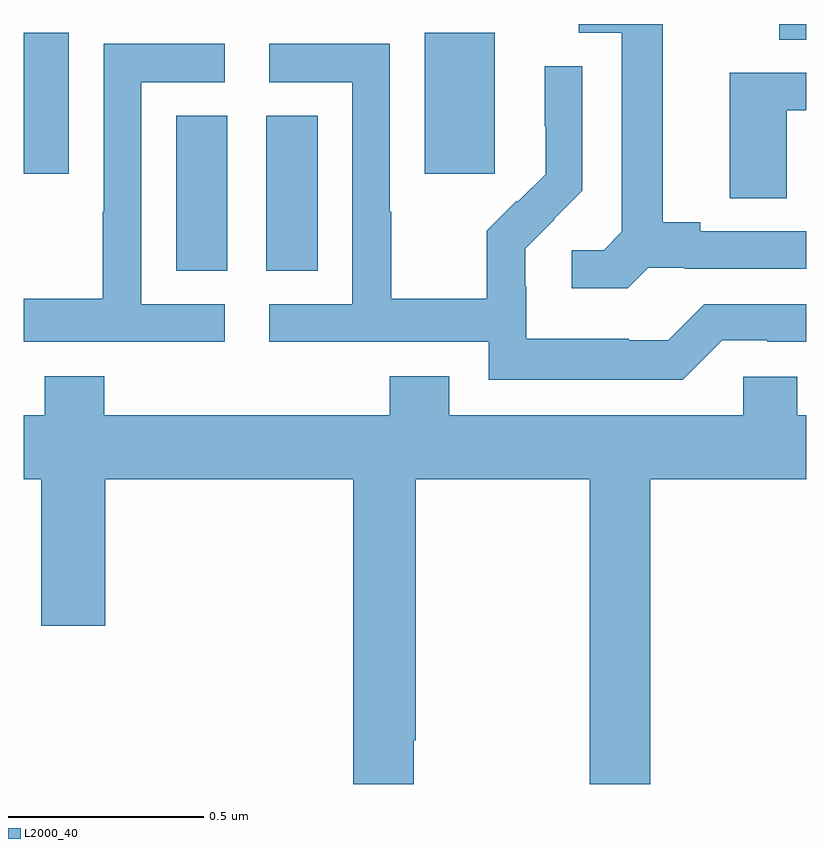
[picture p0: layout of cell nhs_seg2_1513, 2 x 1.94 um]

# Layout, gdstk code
import gdstk
lib = gdstk.Library(unit=1e-6, precision=1e-09)
def R(c, l, rs):  # rectangles x0, y0, x1, y1
    for r in rs: c.add(gdstk.rectangle(r[:2], r[2:], *l))
def P(c, l, *ps):  # polygons
    for p in ps: c.add(gdstk.Polygon(p, *l))
L2000_40 = (2000, 40)

nhs_seg2_1513 = lib.new_cell('nhs_seg2_1513')
R(nhs_seg2_1513, L2000_40, [(129.389,648.169,129.52,648.566), (129.62,648.169,129.751,648.566), (129,648.417,129.115,648.778), (130.025,648.417,130.204,648.778), (130.931,648.76,131,648.8)])
P(nhs_seg2_1513, L2000_40, [(130.596,648.177),(130.69,648.177),(130.69,648.174),(131,648.174),(131,648.27),(130.729,648.27),(130.729,648.293),(130.633,648.293),(130.633,648.8),(130.419,648.8),(130.419,648.777),(130.529,648.777),(130.529,648.269),(130.482,648.222),(130.401,648.222),(130.401,648.125),(130.544,648.125)],
  [(130.785,647.991),(130.901,647.991),(130.901,647.988),(131,647.988),(131,648.084),(130.74,648.084),(130.647,647.991),(130.547,647.991),(130.547,647.995),(130.284,647.995),(130.284,648.129),(130.282,648.129),(130.282,648.226),(130.356,648.3),(130.355,648.301),(130.428,648.374),(130.428,648.692),(130.332,648.692),(130.332,648.538),(130.334,648.538),(130.334,648.416),(130.263,648.345),(130.26,648.348),(130.183,648.271),(130.183,648.097),(129.939,648.097),(129.939,648.32),(129.936,648.32),(129.936,648.75),(129.627,648.75),(129.627,648.651),(129.84,648.651),(129.84,648.084),(129.627,648.084),(129.627,647.988),(130.188,647.988),(130.188,647.891),(130.685,647.891)],
  [(129.514,648.084),(129.3,648.084),(129.3,648.651),(129.514,648.651),(129.514,648.75),(129.204,648.75),(129.204,648.32),(129.202,648.32),(129.202,648.097),(129,648.097),(129,647.988),(129.514,647.988)],
  [(130.95,648.579),(131,648.579),(131,648.675),(130.805,648.675),(130.805,648.355),(130.95,648.355)],
  [(129.997,646.969),(130.002,646.969),(130.002,647.636),(130.447,647.636),(130.447,646.857),(130.602,646.857),(130.602,647.636),(131,647.636),(131,647.8),(130.977,647.8),(130.977,647.898),(130.839,647.898),(130.839,647.8),(130.087,647.8),(130.087,647.899),(129.935,647.899),(129.935,647.8),(129.206,647.8),(129.206,647.899),(129.053,647.899),(129.053,647.8),(129,647.8),(129,647.636),(129.044,647.636),(129.044,647.262),(129.208,647.262),(129.208,647.636),(129.842,647.636),(129.842,646.857),(129.997,646.857)])

lib.write_gds('nhs_seg2_1513.gds')
